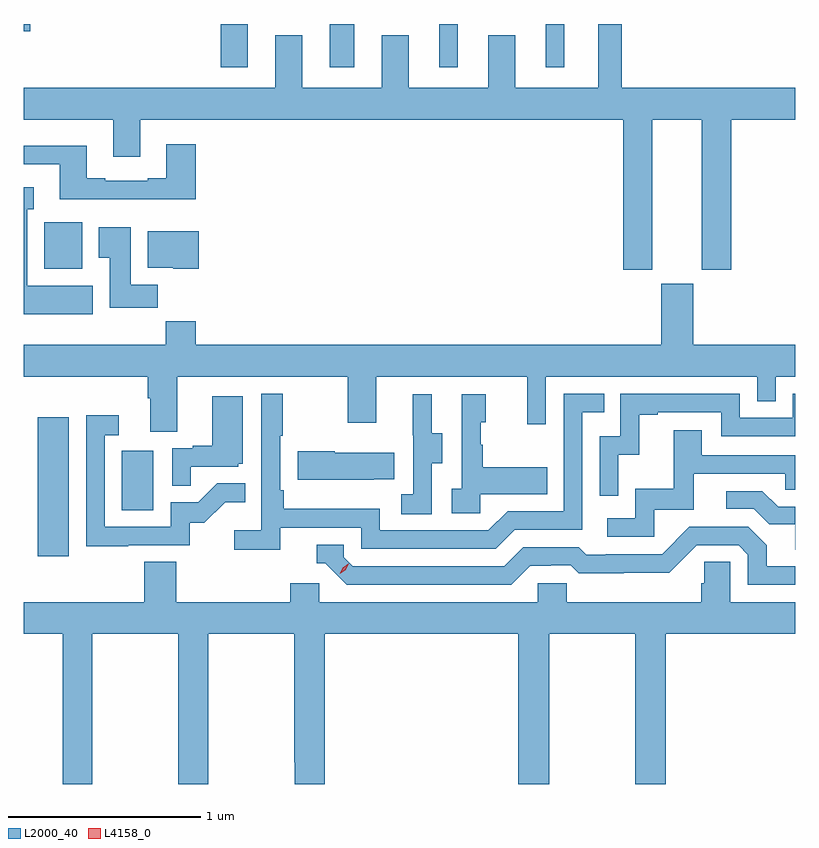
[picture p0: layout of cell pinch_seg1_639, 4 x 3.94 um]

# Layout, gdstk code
import gdstk
lib = gdstk.Library(unit=1e-6, precision=1e-09)
def R(c, l, rs):  # rectangles x0, y0, x1, y1
    for r in rs: c.add(gdstk.rectangle(r[:2], r[2:], *l))
def P(c, l, *ps):  # polygons
    for p in ps: c.add(gdstk.Polygon(p, *l))
L2000_40 = (2000, 40)
L4158_0 = (4158, 0)

pinch_seg1_639 = lib.new_cell('pinch_seg1_639')
R(pinch_seg1_639, L2000_40, [(1083.965,512.172,1084.126,512.893), (1084.4,512.412,1084.564,512.719), (1083.998,513.662,1084.195,513.904), (1084.913,514.707,1085.053,514.931), (1085.477,514.707,1085.605,514.931), (1086.044,514.707,1086.142,514.931), (1086.596,514.707,1086.694,514.931), (1083.891,514.894,1083.925,514.931)])
P(pinch_seg1_639, L2000_40, [(1087.15,514.436),(1087.406,514.436),(1087.406,513.657),(1087.559,513.657),(1087.559,514.436),(1087.891,514.436),(1087.891,514.6),(1086.991,514.6),(1086.991,514.931),(1086.869,514.931),(1086.869,514.6),(1086.439,514.6),(1086.439,514.873),(1086.299,514.873),(1086.299,514.6),(1085.887,514.6),(1085.887,514.873),(1085.747,514.873),(1085.747,514.6),(1085.335,514.6),(1085.335,514.873),(1085.195,514.873),(1085.195,514.6),(1083.891,514.6),(1083.891,514.436),(1084.355,514.436),(1084.355,514.242),(1084.495,514.242),(1084.495,514.436),(1086.998,514.436),(1086.998,513.657),(1087.15,513.657)],
  [(1084.784,514.309),(1084.631,514.309),(1084.631,514.132),(1084.535,514.132),(1084.535,514.119),(1084.315,514.119),(1084.315,514.132),(1084.219,514.132),(1084.219,514.3),(1083.891,514.3),(1083.891,514.203),(1084.079,514.203),(1084.079,514.022),(1084.784,514.022)],
  [(1084.249,513.574),(1083.91,513.574),(1083.91,513.971),(1083.943,513.971),(1083.943,514.084),(1083.891,514.084),(1083.891,513.428),(1084.249,513.428)],
  [(1084.586,513.58),(1084.447,513.58),(1084.447,513.877),(1084.28,513.877),(1084.28,513.721),(1084.337,513.721),(1084.337,513.462),(1084.586,513.462)],
  [(1084.799,513.856),(1084.535,513.856),(1084.535,513.668),(1084.668,513.668),(1084.668,513.662),(1084.799,513.662)],
  [(1084.687,513.104),(1085.572,513.104),(1085.572,512.865),(1085.719,512.865),(1085.719,513.104),(1086.5,513.104),(1086.5,512.856),(1086.597,512.856),(1086.597,513.104),(1087.692,513.104),(1087.692,512.977),(1087.788,512.977),(1087.788,513.104),(1087.891,513.104),(1087.891,513.268),(1087.36,513.268),(1087.36,513.585),(1087.196,513.585),(1087.196,513.268),(1084.784,513.268),(1084.784,513.392),(1084.627,513.392),(1084.627,513.268),(1083.891,513.268),(1083.891,513.104),(1084.535,513.104),(1084.535,512.992),(1084.547,512.992),(1084.547,512.818),(1084.687,512.818)],
  [(1085.222,512.322),(1085.64,512.322),(1085.64,512.211),(1086.337,512.211),(1086.436,512.31),(1086.786,512.31),(1086.786,512.919),(1086.899,512.919),(1086.899,513.015),(1086.69,513.015),(1086.69,512.406),(1086.399,512.406),(1086.3,512.307),(1085.736,512.307),(1085.736,512.419),(1085.24,512.419),(1085.24,512.515),(1085.22,512.515),(1085.22,512.797),(1085.233,512.797),(1085.233,513.016),(1085.124,513.016),(1085.124,512.308),(1084.983,512.308),(1084.983,512.206),(1085.222,512.206)],
  [(1086.972,512.699),(1087.082,512.699),(1087.082,512.907),(1087.177,512.907),(1087.177,512.919),(1087.506,512.919),(1087.506,512.796),(1087.891,512.796),(1087.891,513.015),(1087.878,513.015),(1087.878,512.892),(1087.602,512.892),(1087.602,513.015),(1086.984,513.015),(1086.984,512.796),(1086.876,512.796),(1086.876,512.487),(1086.972,512.487)],
  [(1086.258,512.495),(1086.605,512.495),(1086.605,512.635),(1086.271,512.635),(1086.271,512.75),(1086.261,512.75),(1086.261,512.868),(1086.286,512.868),(1086.286,513.013),(1086.162,513.013),(1086.162,512.522),(1086.111,512.522),(1086.111,512.397),(1086.258,512.397)],
  [(1086.006,512.656),(1086.061,512.656),(1086.061,512.811),(1086.007,512.811),(1086.007,513.013),(1085.909,513.013),(1085.909,512.799),(1085.91,512.799),(1085.91,512.495),(1085.847,512.495),(1085.847,512.392),(1086.006,512.392)],
  [(1084.757,512.637),(1085.004,512.637),(1085.004,512.652),(1085.026,512.652),(1085.026,513.001),(1084.868,513.001),(1084.868,512.746),(1084.769,512.746),(1084.769,512.733),(1084.662,512.733),(1084.662,512.539),(1084.757,512.539)],
  [(1084.433,512.229),(1084.752,512.229),(1084.752,512.346),(1084.828,512.346),(1084.935,512.453),(1085.039,512.453),(1085.039,512.552),(1084.895,512.552),(1084.797,512.454),(1084.653,512.454),(1084.653,512.325),(1084.311,512.325),(1084.311,512.799),(1084.384,512.799),(1084.384,512.905),(1084.215,512.905),(1084.215,512.224),(1084.433,512.224)],
  [(1087.158,512.415),(1087.363,512.415),(1087.363,512.601),(1087.837,512.601),(1087.837,512.517),(1087.891,512.517),(1087.891,512.697),(1087.405,512.697),(1087.405,512.827),(1087.261,512.827),(1087.261,512.524),(1087.062,512.524),(1087.062,512.37),(1086.915,512.37),(1086.915,512.274),(1087.158,512.274)],
  [(1085.705,512.573),(1085.813,512.573),(1085.813,512.71),(1085.503,512.71),(1085.503,512.718),(1085.312,512.718),(1085.312,512.57),(1085.705,512.57)],
  [(1087.891,512.43),(1087.801,512.43),(1087.72,512.511),(1087.533,512.511),(1087.533,512.418),(1087.674,512.418),(1087.754,512.338),(1087.889,512.338),(1087.889,512.206),(1087.891,512.206)],
  [(1086.517,512.124),(1086.624,512.124),(1086.624,512.127),(1086.727,512.127),(1086.769,512.085),(1087.002,512.085),(1087.002,512.087),(1087.238,512.087),(1087.38,512.229),(1087.596,512.229),(1087.644,512.181),(1087.644,512.025),(1087.891,512.025),(1087.891,512.121),(1087.741,512.121),(1087.741,512.231),(1087.647,512.325),(1087.341,512.325),(1087.2,512.184),(1086.907,512.184),(1086.907,512.181),(1086.808,512.181),(1086.769,512.22),(1086.48,512.22),(1086.381,512.121),(1085.598,512.121),(1085.55,512.169),(1085.55,512.232),(1085.411,512.232),(1085.411,512.136),(1085.454,512.136),(1085.565,512.025),(1086.418,512.025)],
  [(1084.248,511.772),(1084.693,511.772),(1084.693,510.993),(1084.848,510.993),(1084.848,511.772),(1085.293,511.772),(1085.293,511.105),(1085.297,511.105),(1085.297,510.993),(1085.453,510.993),(1085.453,511.772),(1086.455,511.772),(1086.455,510.993),(1086.615,510.993),(1086.615,511.772),(1087.06,511.772),(1087.06,510.993),(1087.22,510.993),(1087.22,511.772),(1087.891,511.772),(1087.891,511.936),(1087.554,511.936),(1087.554,512.144),(1087.417,512.144),(1087.417,512.034),(1087.403,512.034),(1087.403,511.936),(1086.705,511.936),(1086.705,512.034),(1086.555,512.034),(1086.555,511.936),(1085.424,511.936),(1085.424,512.034),(1085.273,512.034),(1085.273,511.936),(1084.682,511.936),(1084.682,512.144),(1084.517,512.144),(1084.517,511.936),(1083.891,511.936),(1083.891,511.772),(1084.093,511.772),(1084.093,510.993),(1084.248,510.993)])
P(pinch_seg1_639, L4158_0, [(1085.529,512.082),(1085.529,512.082),(1085.544,512.114),(1085.574,512.134),(1085.575,512.134),(1085.575,512.134),(1085.559,512.101),(1085.529,512.082)])

lib.write_gds('pinch_seg1_639.gds')
